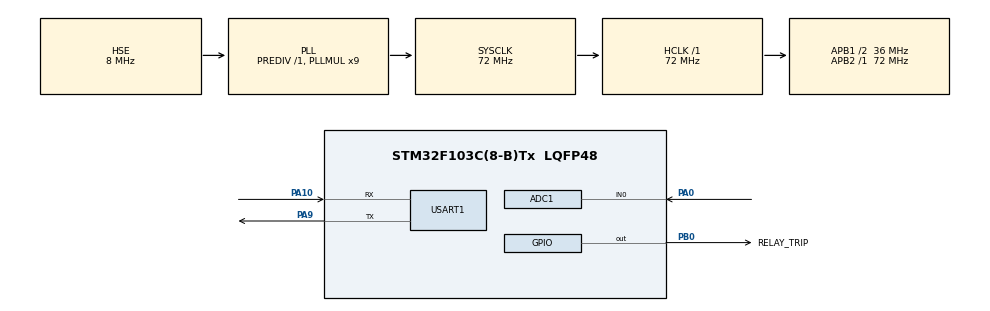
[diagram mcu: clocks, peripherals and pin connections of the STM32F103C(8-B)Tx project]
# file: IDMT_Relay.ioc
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ADC1.Channel-0\#ChannelRegularConversion=ADC_CHANNEL_0
ADC1.ExternalTrigConv=ADC_EXTERNALTRIGCONV_T3_TRGO
ADC1.NbrOfConversionFlag=1
ADC1.Rank-0\#ChannelRegularConversion=1
ADC1.SamplingTime-0\#ChannelRegularConversion=ADC_SAMPLETIME_41CYCLES_5
ADC1.master=1
Dma.ADC1.0.Direction=DMA_PERIPH_TO_MEMORY
Dma.ADC1.0.Instance=DMA1_Channel1
Dma.ADC1.0.MemDataAlignment=DMA_MDATAALIGN_HALFWORD
Dma.ADC1.0.MemInc=DMA_MINC_ENABLE
Dma.ADC1.0.Mode=DMA_CIRCULAR
Dma.ADC1.0.PeriphDataAlignment=DMA_PDATAALIGN_HALFWORD
Dma.ADC1.0.PeriphInc=DMA_PINC_DISABLE
Dma.ADC1.0.Priority=DMA_PRIORITY_LOW
Dma.Request0=ADC1
Mcu.Family=STM32F1
Mcu.Name=STM32F103C(8-B)Tx
Mcu.Package=LQFP48
NVIC.DMA1_Channel1_IRQn=true\:0\:0\:false\:false\:true\:false\:true\:true
NVIC.PriorityGroup=NVIC_PRIORITYGROUP_4
PA0-WKUP.Signal=ADCx_IN0
PA10.Mode=Asynchronous
PA10.Signal=USART1_RX
PA13.Mode=Serial_Wire
PA13.Signal=SYS_JTMS-SWDIO
PA14.Mode=Serial_Wire
PA14.Signal=SYS_JTCK-SWCLK
PA9.Mode=Asynchronous
PA9.Signal=USART1_TX
PB0.GPIO_Label=RELAY_TRIP
PB0.Signal=GPIO_Output
PD0-OSC_IN.Mode=HSE-External-Oscillator
PD0-OSC_IN.Signal=RCC_OSC_IN
PD1-OSC_OUT.Mode=HSE-External-Oscillator
PD1-OSC_OUT.Signal=RCC_OSC_OUT
ProjectManager.HeapSize=0x200
ProjectManager.StackSize=0x400
ProjectManager.TargetToolchain=STM32CubeIDE
RCC.ADCPresc=RCC_ADCPCLK2_DIV6
RCC.AHBFreq_Value=72000000
RCC.APB1CLKDivider=RCC_HCLK_DIV2
RCC.APB1Freq_Value=36000000
RCC.APB1TimFreq_Value=72000000
RCC.APB2Freq_Value=72000000
RCC.APB2TimFreq_Value=72000000
RCC.HCLKFreq_Value=72000000
RCC.PLLMUL=RCC_PLL_MUL9
RCC.PLLSourceVirtual=RCC_PLLSOURCE_HSE
RCC.SYSCLKFreq_VALUE=72000000
RCC.SYSCLKSource=RCC_SYSCLKSOURCE_PLLCLK
RCC.USBFreq_Value=72000000
SH.ADCx_IN0.0=ADC1_IN0,IN0
TIM3.Period=899
TIM3.Prescaler=24
TIM3.TIM_MasterOutputTrigger=TIM_TRGO_UPDATE
USART1.VirtualMode=VM_ASYNC
VP_TIM3_VS_ClockSourceINT.Mode=Internal
board=custom

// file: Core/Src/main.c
/* USER CODE BEGIN Header */
/**
  ******************************************************************************
  * @file           : main.c
  * @brief          : Main program body
  ******************************************************************************
  * @attention
  *
  * Copyright (c) 2026 STMicroelectronics.
  * All rights reserved.
  *
  * This software is licensed under terms that can be found in the LICENSE file
  * in the root directory of this software component.
  * If no LICENSE file comes with this software, it is provided AS-IS.
  *
  ******************************************************************************
  */
/* USER CODE END Header */
#include "main.h"

/* USER CODE BEGIN Includes */
#include "relay_curves.h"
#include <string.h>
#include <stdio.h>
#include <stdlib.h>
/* USER CODE END Includes */

ADC_HandleTypeDef hadc1;
DMA_HandleTypeDef hdma_adc1;

TIM_HandleTypeDef htim3;

UART_HandleTypeDef huart1;

/* USER CODE BEGIN PV */

/* ── ADC / sampling ───────────────────────────────── */
#define ADC_SAMPLES     64
#define ADC_DC_OFFSET   2048
#define COUNTS_TO_AMPS  0.00488f
#define I_PICKUP_DEFAULT 5.0f
#define TMS_DEFAULT      0.5f
#define INST_M_MIN       1.01f

uint16_t adc_buf[ADC_SAMPLES];
volatile uint8_t sample_ready = 0;

/* ── Relay settings (changed by user via UART) ────── */
typedef enum { STD_IEC, STD_IEEE } Standard;

Standard  user_standard  = STD_IEC;
IEC_Curve  user_iec_curve = IEC_SI;
IEEE_Curve user_ieee_curve = IEEE_MOD_INV;
float     user_tms        = TMS_DEFAULT;
float     user_pickup     = I_PICKUP_DEFAULT;   /* amps */
float     user_inst_multiple = INST_MULTIPLE_DEFAULT;

/* ── UART receive ─────────────────────────────────── */
uint8_t  rx_byte       = 0;
uint8_t  rx_buf[32]    = {0};
uint8_t  rx_index      = 0;
volatile uint8_t rx_ready = 0;

/* ── State machine ────────────────────────────────── */
typedef enum {
    MENU_MAIN,
    MENU_STANDARD,
    MENU_CURVE,
    MENU_TMS,
    MENU_PICKUP,
    MENU_INST_MULTIPLE
} MenuState;

MenuState menu_state = MENU_MAIN;

typedef enum { RELAY_NORMAL, RELAY_FAULT_PENDING, RELAY_TRIPPED } RelayState;
RelayState relay_state     = RELAY_NORMAL;
uint32_t   fault_start_ms  = 0;   /* HAL_GetTick() when fault detected */
float      trip_time_ms    = 0;   /* calculated trip time in ms        */

/* USER CODE END PV */

void SystemClock_Config(void);
static void MX_GPIO_Init(void);
static void MX_DMA_Init(void);
static void MX_ADC1_Init(void);
static void MX_TIM3_Init(void);
static void MX_USART1_UART_Init(void);

/* USER CODE BEGIN 0 */

void uart_print(const char *msg)
{
    HAL_UART_Transmit(&huart1, (uint8_t*)msg, strlen(msg), 200);
}

void show_main_menu(void)
{
    char buf[320];
    const char *std_str  = (user_standard == STD_IEC) ? "IEC" : "IEEE";
    const char *curve_str;

    if (user_standard == STD_IEC) {
        const char *iec_names[] = {"SI","VI","EI","LTI"};
        curve_str = iec_names[user_iec_curve];
    } else {
        const char *ieee_names[] = {"MOD_INV","VERY_INV","EXT_INV"};
        curve_str = ieee_names[user_ieee_curve];
    }

    sprintf(buf,
        "\r\n======= IDMT RELAY =======\r\n"
        " Standard : %s\r\n"
        " Curve    : %s\r\n"
        " TMS/TDS  : %.2f\r\n"
        " Pickup   : %.2f A\r\n"
        " Inst M   : %.2f\r\n"
        "--------------------------\r\n"
        " 1) Change standard\r\n"
        " 2) Change curve\r\n"
        " 3) Change TMS/TDS\r\n"
        " 4) Change pickup current\r\n"
        " 5) Change instant trip M\r\n"
        "==========================\r\n"
        "Enter choice: ",
        std_str, curve_str, user_tms, user_pickup, user_inst_multiple);

    uart_print(buf);
}

void show_standard_menu(void)
{
    uart_print("\r\nSelect standard:\r\n"
               " 1) IEC 60255\r\n"
               " 2) IEEE C37.112\r\n"
               "Enter choice: ");
}

void show_curve_menu(void)
{
    if (user_standard == STD_IEC) {
        uart_print("\r\nSelect IEC curve:\r\n"
                   " 1) Standard Inverse  (SI)\r\n"
                   " 2) Very Inverse      (VI)\r\n"
                   " 3) Extremely Inverse (EI)\r\n"
                   " 4) Long-Time Inverse (LTI)\r\n"
                   "Enter choice: ");
    } else {
        uart_print("\r\nSelect IEEE curve:\r\n"
                   " 1) Moderately Inverse\r\n"
                   " 2) Very Inverse\r\n"
                   " 3) Extremely Inverse\r\n"
                   "Enter choice: ");
    }
}

/* USER CODE END 0 */

int main(void)
{

  /* MCU Configuration--------------------------------------------------------*/

  /* Reset of all peripherals, Initializes the Flash interface and the Systick. */
  HAL_Init();

  /* Configure the system clock */
  SystemClock_Config();

  /* Initialize all configured peripherals */
  MX_GPIO_Init();
  MX_DMA_Init();
  MX_ADC1_Init();
  MX_TIM3_Init();
  MX_USART1_UART_Init();
  /* USER CODE BEGIN 2 */
  HAL_ADC_Start_DMA(&hadc1, (uint32_t*)adc_buf, ADC_SAMPLES);
  HAL_TIM_Base_Start(&htim3);
  HAL_UART_Receive_IT(&huart1, &rx_byte, 1);  /* start UART interrupt */
  show_main_menu();
  /* USER CODE END 2 */

  /* Infinite loop */
  /* USER CODE BEGIN WHILE */
  while (1)
  {
      /* ── UART input handler ───────────────────────── */
      if (rx_ready)
      {
          rx_ready = 0;
          char c = (char)rx_buf[0];

          /* echo character back so user sees what they typed */
          HAL_UART_Transmit(&huart1, (uint8_t*)&c, 1, 50);

          switch (menu_state)
          {
              case MENU_MAIN:
                  switch (c) {
                      case '1': menu_state = MENU_STANDARD; show_standard_menu(); break;
                      case '2': menu_state = MENU_CURVE;    show_curve_menu();    break;
                      case '3':
                          menu_state = MENU_TMS;
                          uart_print("\r\nEnter TMS (e.g. 0.50): ");
                          rx_index = 0;
                          break;
                      case '4':
                          menu_state = MENU_PICKUP;
                          uart_print("\r\nEnter pickup amps (e.g. 5.00): ");
                          rx_index = 0;
                          break;
                      case '5':
                          menu_state = MENU_INST_MULTIPLE;
                          uart_print("\r\nEnter instant trip M (e.g. 10.00): ");
                          rx_index = 0;
                          break;
                      default:
                          show_main_menu();
                          break;
                  }
                  break;

              case MENU_STANDARD:
                  if (c == '1')      { user_standard = STD_IEC;  uart_print("\r\nSet to IEC.");  }
                  else if (c == '2') { user_standard = STD_IEEE; uart_print("\r\nSet to IEEE."); }
                  else {
					  uart_print("\r\nInvalid. Enter 1 or 2.");
					  show_standard_menu();
					  break;
				  }
                  menu_state = MENU_MAIN;
                  show_main_menu();
                  break;

              case MENU_CURVE:
                  if (user_standard == STD_IEC) {
                      if      (c == '1') user_iec_curve = IEC_SI;
                      else if (c == '2') user_iec_curve = IEC_VI;
                      else if (c == '3') user_iec_curve = IEC_EI;
                      else if (c == '4') user_iec_curve = IEC_LTI;
                      else {
                    	  uart_print("\r\nInvalid. Enter 1-4.");
						  show_curve_menu();   /* reprint without going back to main */
						  break;
					  }
                  } else {
                      if      (c == '1') user_ieee_curve = IEEE_MOD_INV;
                      else if (c == '2') user_ieee_curve = IEEE_VERY_INV;
                      else if (c == '3') user_ieee_curve = IEEE_EXT_INV;
                      else {
						  uart_print("\r\nInvalid. Enter 1-3.");
						  show_curve_menu();
						  break;
                      }
                  }
                  menu_state = MENU_MAIN;
                  show_main_menu();
                  break;

              case MENU_TMS:
                  /* collect chars until Enter */
                  if (c == '\r' || c == '\n') {
                      rx_buf[rx_index] = '\0';
                      float val = atof((char*)rx_buf);
                      if (val > 0.0f && val <= 10.0f) {
                          user_tms = val;
                          uart_print("\r\nTMS updated.");
                      } else {
                          uart_print("\r\nInvalid. Range: 0.01 - 10.0");
                      }
                      rx_index = 0;
                      menu_state = MENU_MAIN;
                      show_main_menu();
                  } else {
                      if (rx_index < 10) rx_buf[rx_index++] = c;
                  }
                  break;

              case MENU_PICKUP:
                  if (c == '\r' || c == '\n') {
                      rx_buf[rx_index] = '\0';
                      float val = atof((char*)rx_buf);
                      if (val > 0.0f) {
                          user_pickup = val;
                          uart_print("\r\nPickup updated.");
                      } else {
                          uart_print("\r\nInvalid value.");
                      }
                      rx_index = 0;
                      menu_state = MENU_MAIN;
                      show_main_menu();
                  } else {
                      if (rx_index < 10) rx_buf[rx_index++] = c;
                  }
                  break;

              case MENU_INST_MULTIPLE:
                  if (c == '\r' || c == '\n') {
                      rx_buf[rx_index] = '\0';
                      float val = atof((char*)rx_buf);
                      if (val >= INST_M_MIN) {
                          user_inst_multiple = val;
                          uart_print("\r\nInstant trip M updated.");
                      } else {
                          uart_print("\r\nInvalid. Range: 1.01 and above");
                      }
                      rx_index = 0;
                      menu_state = MENU_MAIN;
                      show_main_menu();
                  } else {
                      if (rx_index < 10) rx_buf[rx_index++] = c;
                  }
                  break;
          }
      }

      /* ── ADC / trip logic ─────────────────────────── */
      if (sample_ready)
      {
          sample_ready = 0;

          float rms_counts = calc_rms(adc_buf, ADC_SAMPLES, ADC_DC_OFFSET);
          float I_fault    = rms_counts * COUNTS_TO_AMPS;
          float M          = I_fault / user_pickup;

          char msg[96];

          if (M > 1.0f)
          {
              float t_trip;
              if (user_standard == STD_IEC)
                  t_trip = trip_time_iec(M, user_tms, user_inst_multiple, user_iec_curve);
              else
                  t_trip = trip_time_ieee(M, user_tms, user_inst_multiple, user_ieee_curve);
              switch (relay_state)
              {
              	  case RELAY_NORMAL:
              		  /* ── NEW FAULT DETECTED ── */
                      relay_state    = RELAY_FAULT_PENDING;
                      fault_start_ms = HAL_GetTick();
                      trip_time_ms   = t_trip * 1000.0f;

					  /* T1 timestamp — GUI logs this */
					  sprintf(msg, "FAULT_START M=%.2f Ttrip_theory=%.3fs\r\n",
							  M, t_trip);
					  HAL_UART_Transmit(&huart1, (uint8_t*)msg, strlen(msg), 100);
					  break;
              	  case RELAY_FAULT_PENDING:
					  /* ── CHECK IF TRIP TIME ELAPSED ── */
					  if ((HAL_GetTick() - fault_start_ms) >= (uint32_t)trip_time_ms)
					  {
						  relay_state = RELAY_TRIPPED;

						  /* T2 timestamp — GUI calculates actual = T2 - T1 */
						  HAL_GPIO_WritePin(RELAY_TRIP_GPIO_Port,
											RELAY_TRIP_Pin, GPIO_PIN_SET);
						  uart_print("TRIP_EXECUTED\r\n");
					  }
					  else
					  {
						  /* still counting — report progress */
						  uint32_t elapsed_ms = HAL_GetTick() - fault_start_ms;
						  float remaining = (trip_time_ms - elapsed_ms) / 1000.0f;
						  sprintf(msg, "FAULT M=%.2f Tremain=%.3fs\r\n",
								  M, remaining);
						  HAL_UART_Transmit(&huart1, (uint8_t*)msg, strlen(msg), 100);
					  }
					  break;

				  case RELAY_TRIPPED:
					  /* already tripped — just report */
					  sprintf(msg, "TRIPPED M=%.2f\r\n", M);
					  HAL_UART_Transmit(&huart1, (uint8_t*)msg, strlen(msg), 100);
					  break;
			  }
		  }
		  else
		  {
			  /* ── FAULT CLEARED ── */
			  if (relay_state != RELAY_NORMAL)
			  {
				  relay_state = RELAY_NORMAL;
				  HAL_GPIO_WritePin(RELAY_TRIP_GPIO_Port,
									RELAY_TRIP_Pin, GPIO_PIN_RESET);
				  uart_print("FAULT_CLEARED\r\n");
			  }
			  else
			  {
				  sprintf(msg, "OK M=%.2f\r\n", M);
				  HAL_UART_Transmit(&huart1, (uint8_t*)msg, strlen(msg), 100);
			  }
		  }
	  }

    /* USER CODE END WHILE */
  }
}

void SystemClock_Config(void)
{
  RCC_OscInitTypeDef RCC_OscInitStruct = {0};
  RCC_ClkInitTypeDef RCC_ClkInitStruct = {0};
  RCC_PeriphCLKInitTypeDef PeriphClkInit = {0};

  /** Initializes the RCC Oscillators according to the specified parameters
  * in the RCC_OscInitTypeDef structure.
  */
  RCC_OscInitStruct.OscillatorType = RCC_OSCILLATORTYPE_HSE;
  RCC_OscInitStruct.HSEState = RCC_HSE_ON;
  RCC_OscInitStruct.HSEPredivValue = RCC_HSE_PREDIV_DIV1;
  RCC_OscInitStruct.HSIState = RCC_HSI_ON;
  RCC_OscInitStruct.PLL.PLLState = RCC_PLL_ON;
  RCC_OscInitStruct.PLL.PLLSource = RCC_PLLSOURCE_HSE;
  RCC_OscInitStruct.PLL.PLLMUL = RCC_PLL_MUL9;
  if (HAL_RCC_OscConfig(&RCC_OscInitStruct) != HAL_OK)
  {
    Error_Handler();
  }

  /** Initializes the CPU, AHB and APB buses clocks
  */
  RCC_ClkInitStruct.ClockType = RCC_CLOCKTYPE_HCLK|RCC_CLOCKTYPE_SYSCLK
                              |RCC_CLOCKTYPE_PCLK1|RCC_CLOCKTYPE_PCLK2;
  RCC_ClkInitStruct.SYSCLKSource = RCC_SYSCLKSOURCE_PLLCLK;
  RCC_ClkInitStruct.AHBCLKDivider = RCC_SYSCLK_DIV1;
  RCC_ClkInitStruct.APB1CLKDivider = RCC_HCLK_DIV2;
  RCC_ClkInitStruct.APB2CLKDivider = RCC_HCLK_DIV1;

  if (HAL_RCC_ClockConfig(&RCC_ClkInitStruct, FLASH_LATENCY_2) != HAL_OK)
  {
    Error_Handler();
  }
  PeriphClkInit.PeriphClockSelection = RCC_PERIPHCLK_ADC;
  PeriphClkInit.AdcClockSelection = RCC_ADCPCLK2_DIV6;
  if (HAL_RCCEx_PeriphCLKConfig(&PeriphClkInit) != HAL_OK)
  {
    Error_Handler();
  }
}

static void MX_ADC1_Init(void)
{

  ADC_ChannelConfTypeDef sConfig = {0};

  /** Common config
  */
  hadc1.Instance = ADC1;
  hadc1.Init.ScanConvMode = ADC_SCAN_DISABLE;
  hadc1.Init.ContinuousConvMode = DISABLE;
  hadc1.Init.DiscontinuousConvMode = DISABLE;
  hadc1.Init.ExternalTrigConv = ADC_EXTERNALTRIGCONV_T3_TRGO;
  hadc1.Init.DataAlign = ADC_DATAALIGN_RIGHT;
  hadc1.Init.NbrOfConversion = 1;
  if (HAL_ADC_Init(&hadc1) != HAL_OK)
  {
    Error_Handler();
  }

  /** Configure Regular Channel
  */
  sConfig.Channel = ADC_CHANNEL_0;
  sConfig.Rank = ADC_REGULAR_RANK_1;
  sConfig.SamplingTime = ADC_SAMPLETIME_41CYCLES_5;
  if (HAL_ADC_ConfigChannel(&hadc1, &sConfig) != HAL_OK)
  {
    Error_Handler();
  }

}

static void MX_TIM3_Init(void)
{

  TIM_ClockConfigTypeDef sClockSourceConfig = {0};
  TIM_MasterConfigTypeDef sMasterConfig = {0};

  htim3.Instance = TIM3;
  htim3.Init.Prescaler = 24;
  htim3.Init.CounterMode = TIM_COUNTERMODE_UP;
  htim3.Init.Period = 899;
  htim3.Init.ClockDivision = TIM_CLOCKDIVISION_DIV1;
  htim3.Init.AutoReloadPreload = TIM_AUTORELOAD_PRELOAD_DISABLE;
  if (HAL_TIM_Base_Init(&htim3) != HAL_OK)
  {
    Error_Handler();
  }
  sClockSourceConfig.ClockSource = TIM_CLOCKSOURCE_INTERNAL;
  if (HAL_TIM_ConfigClockSource(&htim3, &sClockSourceConfig) != HAL_OK)
  {
    Error_Handler();
  }
  sMasterConfig.MasterOutputTrigger = TIM_TRGO_UPDATE;
  sMasterConfig.MasterSlaveMode = TIM_MASTERSLAVEMODE_DISABLE;
  if (HAL_TIMEx_MasterConfigSynchronization(&htim3, &sMasterConfig) != HAL_OK)
  {
    Error_Handler();
  }

}

static void MX_USART1_UART_Init(void)
{

  huart1.Instance = USART1;
  huart1.Init.BaudRate = 115200;
  huart1.Init.WordLength = UART_WORDLENGTH_8B;
  huart1.Init.StopBits = UART_STOPBITS_1;
  huart1.Init.Parity = UART_PARITY_NONE;
  huart1.Init.Mode = UART_MODE_TX_RX;
  huart1.Init.HwFlowCtl = UART_HWCONTROL_NONE;
  huart1.Init.OverSampling = UART_OVERSAMPLING_16;
  if (HAL_UART_Init(&huart1) != HAL_OK)
  {
    Error_Handler();
  }

}

static void MX_DMA_Init(void)
{

  /* DMA controller clock enable */
  __HAL_RCC_DMA1_CLK_ENABLE();

  /* DMA interrupt init */
  /* DMA1_Channel1_IRQn interrupt configuration */
  HAL_NVIC_SetPriority(DMA1_Channel1_IRQn, 0, 0);
  HAL_NVIC_EnableIRQ(DMA1_Channel1_IRQn);

}

static void MX_GPIO_Init(void)
{
  GPIO_InitTypeDef GPIO_InitStruct = {0};

  /* GPIO Ports Clock Enable */
  __HAL_RCC_GPIOD_CLK_ENABLE();
  __HAL_RCC_GPIOA_CLK_ENABLE();
  __HAL_RCC_GPIOB_CLK_ENABLE();

  /*Configure GPIO pin Output Level */
  HAL_GPIO_WritePin(RELAY_TRIP_GPIO_Port, RELAY_TRIP_Pin, GPIO_PIN_RESET);

  /*Configure GPIO pin : RELAY_TRIP_Pin */
  GPIO_InitStruct.Pin = RELAY_TRIP_Pin;
  GPIO_InitStruct.Mode = GPIO_MODE_OUTPUT_PP;
  GPIO_InitStruct.Pull = GPIO_NOPULL;
  GPIO_InitStruct.Speed = GPIO_SPEED_FREQ_LOW;
  HAL_GPIO_Init(RELAY_TRIP_GPIO_Port, &GPIO_InitStruct);

}

/* USER CODE BEGIN 4 */

void HAL_ADC_ConvCpltCallback(ADC_HandleTypeDef *hadc)
{
    if (hadc->Instance == ADC1)
        sample_ready = 1;
}

void HAL_UART_RxCpltCallback(UART_HandleTypeDef *huart)
{
    if (huart->Instance == USART1)
    {
        rx_buf[0] = rx_byte;
        rx_ready  = 1;
        HAL_UART_Receive_IT(&huart1, &rx_byte, 1);  /* re-arm */
    }
}

/* USER CODE END 4 */

void Error_Handler(void)
{
  __disable_irq();
  while (1)
  {
  }
}
